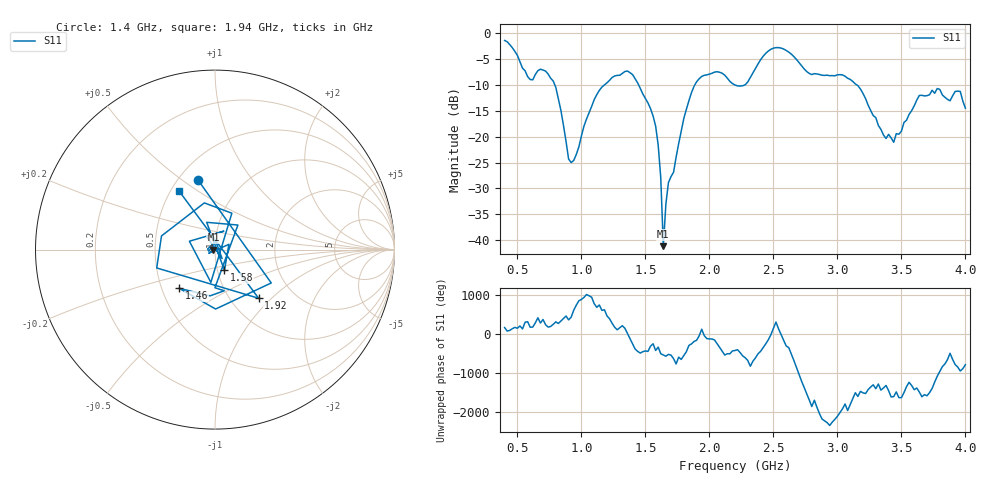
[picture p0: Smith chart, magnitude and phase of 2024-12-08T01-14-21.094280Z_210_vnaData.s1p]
!Created with skrf (http://scikit-rf.org).
# Hz S RI R 50.0
!freq ReS11 ImS11
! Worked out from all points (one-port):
!   181 points, 400 MHz to 4 GHz, reference 50 ohm
!   lowest |S11| = -41.2 dB at 1.64 GHz (marker M1), VSWR 1.02, Z = 49.1 - j0.00358 ohm
!   |S11| at or under -10 dB: 792.7 MHz to 1.178 GHz (385.4 MHz wide, 39.1 % of centre); 1.448 GHz to 1.885 GHz (437.6 MHz wide, 26.3 % of centre); 3.154 GHz to end of sweep (the widest 3 of 4)
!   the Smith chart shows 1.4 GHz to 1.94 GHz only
!   S11 on the Smith chart (normalised r, x): 1.4 GHz: 0.62, +0.57; 1.46 GHz: 0.61, -0.29; 1.58 GHz: 1.08, -0.25; 1.92 GHz: 1.34, -0.84; 1.94 GHz: 0.55, +0.42
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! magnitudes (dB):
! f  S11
! 400 MHz  -1.4
! 600 MHz  -8.9
! 680 MHz  -6.9
! 780 MHz  -9.2
! 860 MHz  -17.8
! 900 MHz  -24.3
! 940 MHz  -24.6
! 1.12 GHz  -11.9
! 1.3 GHz  -8.1
! 1.4 GHz  -8.0
! 1.46 GHz  -10.6
! 1.58 GHz  -17.9
! 1.62 GHz  -27.9
! 1.64 GHz  -41.2
! 1.68 GHz  -28.8
! 1.76 GHz  -21.3
! 1.92 GHz  -8.8
! 1.94 GHz  -8.3
! 2.2 GHz  -10.0
! 2.48 GHz  -3.1
! 2.66 GHz  -4.5
! 3.1 GHz  -8.9
! 3.38 GHz  -20.3
! 3.44 GHz  -21.1
! 3.56 GHz  -15.7
! 3.78 GHz  -10.7
! 3.96 GHz  -11.2
! 4 GHz  -14.5
